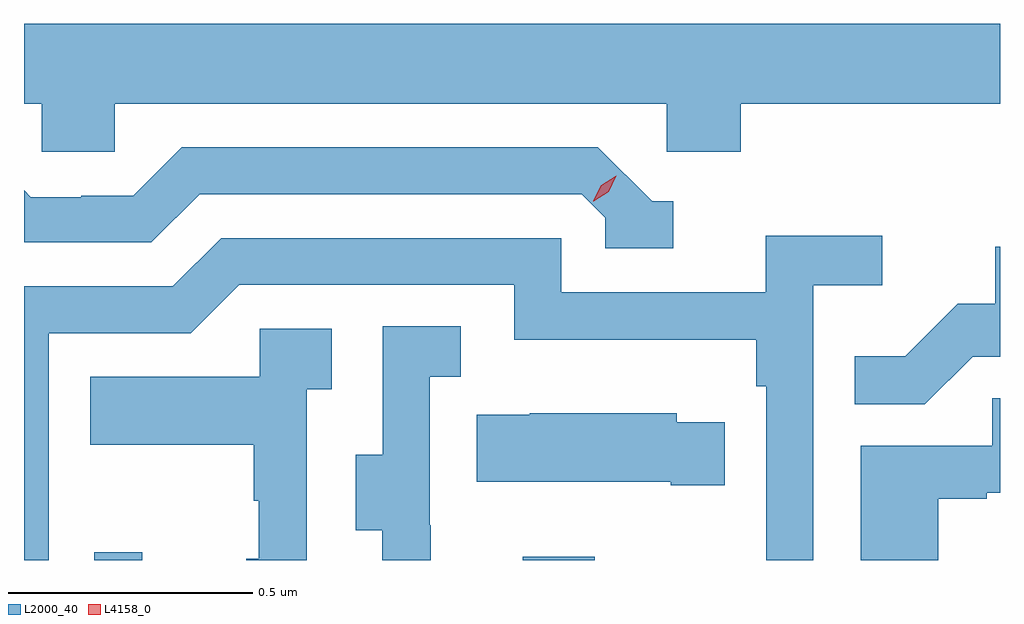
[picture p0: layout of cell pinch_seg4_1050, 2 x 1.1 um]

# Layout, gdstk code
import gdstk
lib = gdstk.Library(unit=1e-6, precision=1e-09)
def R(c, l, rs):  # rectangles x0, y0, x1, y1
    for r in rs: c.add(gdstk.rectangle(r[:2], r[2:], *l))
def P(c, l, *ps):  # polygons
    for p in ps: c.add(gdstk.Polygon(p, *l))
L2000_40 = (2000, 40)
L4158_0 = (4158, 0)

pinch_seg4_1050 = lib.new_cell('pinch_seg4_1050')
R(pinch_seg4_1050, L2000_40, [(821.781,779.901,821.879,779.917), (822.659,779.901,822.807,779.908)])
P(pinch_seg4_1050, L2000_40, [(821.823,780.836),(822.954,780.836),(822.954,780.738),(823.106,780.738),(823.106,780.836),(823.637,780.836),(823.637,781),(821.637,781),(821.637,780.836),(821.673,780.836),(821.673,780.738),(821.823,780.738)],
  [(822.967,780.636),(822.924,780.636),(822.813,780.747),(821.96,780.747),(821.861,780.648),(821.754,780.648),(821.754,780.645),(821.651,780.645),(821.637,780.659),(821.637,780.552),(821.898,780.552),(821.997,780.651),(822.78,780.651),(822.828,780.603),(822.828,780.54),(822.967,780.54)],
  [(821.688,780.366),(821.979,780.366),(822.078,780.465),(822.642,780.465),(822.642,780.353),(823.138,780.353),(823.138,780.257),(823.158,780.257),(823.158,779.901),(823.254,779.901),(823.254,780.464),(823.396,780.464),(823.396,780.566),(823.157,780.566),(823.157,780.45),(822.738,780.45),(822.738,780.561),(822.041,780.561),(821.942,780.462),(821.637,780.462),(821.637,779.901),(821.688,779.901)],
  [(823.581,780.318),(823.637,780.318),(823.637,780.543),(823.627,780.543),(823.627,780.426),(823.55,780.426),(823.443,780.319),(823.339,780.319),(823.339,780.22),(823.483,780.22)],
  [(822.47,779.973),(822.468,779.973),(822.468,780.277),(822.532,780.277),(822.532,780.38),(822.372,780.38),(822.372,780.117),(822.317,780.117),(822.317,779.962),(822.371,779.962),(822.371,779.901),(822.47,779.901)],
  [(822.216,780.251),(822.268,780.251),(822.268,780.375),(822.12,780.375),(822.12,780.277),(821.773,780.277),(821.773,780.137),(822.108,780.137),(822.108,780.023),(822.118,780.023),(822.118,779.904),(822.092,779.904),(822.092,779.901),(822.216,779.901)],
  [(823.51,780.027),(823.61,780.027),(823.61,780.039),(823.637,780.039),(823.637,780.233),(823.621,780.233),(823.621,780.135),(823.352,780.135),(823.352,779.901),(823.51,779.901)],
  [(823.073,780.184),(822.975,780.184),(822.975,780.202),(822.673,780.202),(822.673,780.199),(822.565,780.199),(822.565,780.062),(822.962,780.062),(822.962,780.055),(823.073,780.055)])
P(pinch_seg4_1050, L4158_0, [(822.804,780.636),(822.804,780.637),(822.82,780.669),(822.851,780.689),(822.851,780.689),(822.851,780.689),(822.835,780.656),(822.805,780.636)])

lib.write_gds('pinch_seg4_1050.gds')
